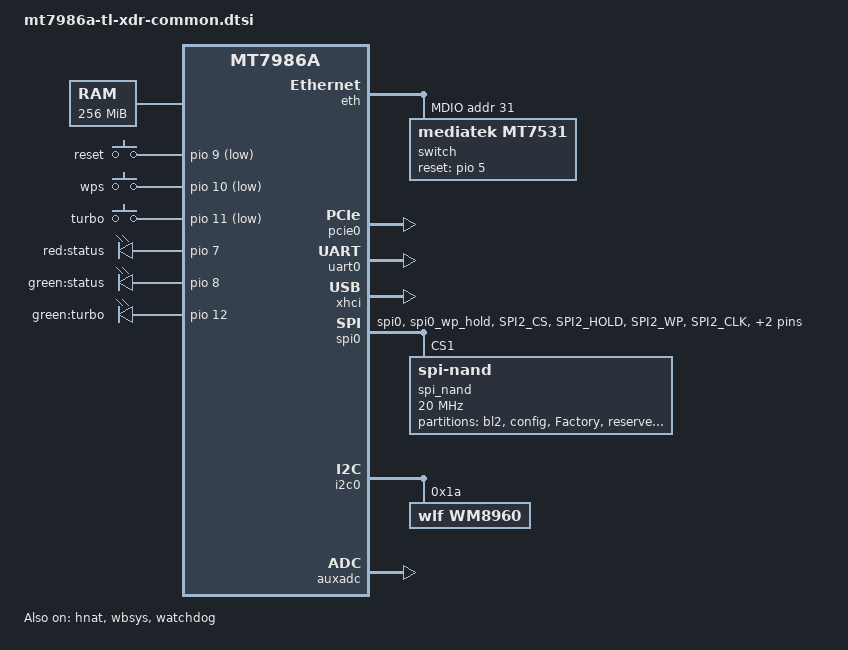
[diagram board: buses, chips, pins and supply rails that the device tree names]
// SPDX-License-Identifier: (GPL-2.0-only OR MIT)
/dts-v1/;

#include <dt-bindings/input/input.h>
#include <dt-bindings/gpio/gpio.h>
#include <dt-bindings/leds/common.h>

#include "mt7986a.dtsi"
#include "mt7986a-pinctrl.dtsi"
/ {
	
 	aliases {
 		serial0 = &uart0;
 		led-boot = &led_status_red;
 		led-failsafe = &led_status_red;
 		led-running = &led_status_green;
 		led-upgrade = &led_status_green;
 	};

	chosen {
		bootargs = "console=ttyS0,115200n1 loglevel=8 
		earlycon=uart8250,mmio32,0x11002000";
	};
	

	memory {
		reg = <0 0x40000000 0 0x10000000>;
	};

  	
       gpio-keys {
		compatible = "gpio-keys";

		reset {
 			label = "reset";
 			linux,code = <KEY_RESTART>;
 			gpios = <&pio 9 GPIO_ACTIVE_LOW>;
 		};

 		wps {
 			label = "wps";
 			linux,code = <KEY_WPS_BUTTON>;
 			gpios = <&pio 10 GPIO_ACTIVE_LOW>;
 		};

 		turbo {
 			label = "turbo";
 			linux,code = <BTN_1>;
 			gpios = <&pio 11 GPIO_ACTIVE_LOW>;
 		};
	};

	
	
	leds {
		compatible = "gpio-leds";

		led_status_red: status_red {
 			label = "red:status";
 			gpios = <&pio 7 GPIO_ACTIVE_HIGH>;
 		};

 		led_status_green: status_green {
 			label = "green:status";
 			gpios = <&pio 8 GPIO_ACTIVE_HIGH>;
 		};

 		turbo {
 			label = "green:turbo";
 			gpios = <&pio 12 GPIO_ACTIVE_HIGH>;
 		};
	};

};

&eth {
	status = "okay";

	gmac0: mac@0 {
		compatible = "mediatek,eth-mac";
		reg = <0>;
		phy-mode = "2500base-x";
		ext-phy-reg = <5>;
		ext-phy-reset-gpios = <&pio 13 0>;
		fixed-link {
			speed = <2500>;
			full-duplex;
			pause;
		};	
	};

	gmac1: mac@1 {
		label = "wan";
		compatible = "mediatek,eth-mac";
		reg = <1>;
		phy-mode = "2500base-x";
		ext-phy-reg = <7>;
		ext-phy-reset-gpios = <&pio 17 0>;
		fixed-link {
			speed = <2500>;
			full-duplex;
			pause;
		};
	};

		mdio: mdio-bus {
		#address-cells = <1>;
		#size-cells = <0>;
 		
		switch:switch@0 {
			compatible = "mediatek,mt7531";
			reg = <31>;
			reset-gpios = <&pio 5 0>;
		};
	};
};


&hnat {
	mtketh-wan = "eth1";
	mtketh-lan = "lan";
	mtketh-max-gmac = <2>;
	status = "okay";
};

&pio {
	spi_flash_pins: spi-flash-pins-33-to-38 {
		mux {
			function = "flash";
			groups = "spi0", "spi0_wp_hold";
		};
		conf-pu {
			pins = "SPI2_CS", "SPI2_HOLD", "SPI2_WP";
			drive-strength = <8>;
			mediatek,pull-up-adv = <0>;
		};
		conf-pd {
			pins = "SPI2_CLK", "SPI2_MOSI", "SPI2_MISO";
			drive-strength = <8>;
			mediatek,pull-down-adv = <0>;
		};
	};

	wf_2g_5g_pins: wf_2g_5g-pins {
		mux {
			function = "wifi";
			groups = "wf_2g", "wf_5g";
		};
		conf {
			pins = "WF0_HB1", "WF0_HB2", "WF0_HB3", "WF0_HB4",
			       "WF0_HB0", "WF0_HB0_B", "WF0_HB5", "WF0_HB6",
			       "WF0_HB7", "WF0_HB8", "WF0_HB9", "WF0_HB10",
			       "WF0_TOP_CLK", "WF0_TOP_DATA", "WF1_HB1",
			       "WF1_HB2", "WF1_HB3", "WF1_HB4", "WF1_HB0",
			       "WF1_HB5", "WF1_HB6", "WF1_HB7", "WF1_HB8",
			       "WF1_TOP_CLK", "WF1_TOP_DATA";
			drive-strength = <MTK_DRIVE_4mA>;
		};
	};

	wf_dbdc_pins: wf_dbdc-pins {
		mux {
			function = "wifi";
			groups = "wf_dbdc";
		};
		conf {
			pins = "WF0_HB1", "WF0_HB2", "WF0_HB3", "WF0_HB4",
			       "WF0_HB0", "WF0_HB0_B", "WF0_HB5", "WF0_HB6",
			       "WF0_HB7", "WF0_HB8", "WF0_HB9", "WF0_HB10",
			       "WF0_TOP_CLK", "WF0_TOP_DATA", "WF1_HB1",
			       "WF1_HB2", "WF1_HB3", "WF1_HB4", "WF1_HB0",
			       "WF1_HB5", "WF1_HB6", "WF1_HB7", "WF1_HB8",
			       "WF1_TOP_CLK", "WF1_TOP_DATA";
			drive-strength = <MTK_DRIVE_4mA>;
		};
	};
};

&pcie0 {
    pinctrl-names = "default";
    pinctrl-0 = <&pcie0_pins>;
    status = "okay";
};

&uart0 {
    status = "okay";
};


&xhci {
	status = "okay";
};

&spi0 {
	pinctrl-names = "default";
	pinctrl-0 = <&spi_flash_pins>;
	status = "okay";
	cs-gpios = <0>, <0>;
	spi_nand: spi_nand@0 {
		#address-cells = <1>;
		#size-cells = <1>;
		compatible = "spi-nand";
		reg = <1>;
		spi-max-frequency = <20000000>;
		spi-tx-buswidth = <4>;
		spi-rx-buswidth = <4>;
		partitions {
 			compatible = "fixed-partitions";
 			#address-cells = <1>;
 			#size-cells = <1>;

 			partition@0 {
 				label = "bl2";
 				reg = <0x000000 0x0100000>;
 				// read-only;
 			};

 			partition@100000 {
 				label = "config";
 				reg = <0x100000 0x0060000>;
 				read-only;
 			};

 			Factory: partition@160000 {
 				label = "Factory";
 				reg = <0x160000 0x00a0000>;
 				read-only;
 			};

 			partition@200000 {
 				label = "reserved";
 				reg = <0x200000 0x0180000>;
 				read-only;
 			};

 			partition@380000 {
				label = "fip";
				reg = <0x380000 0x0200000>;
				read-only;
			};
			partition@580000 {
				label = "ubi";
				reg = <0x580000 0x7800000>;
			};
 		};
	};
};

&wbsys {
	status = "okay";
	mediatek,mtd-eeprom = <&Factory 0x0000>;
/*
	pinctrl-names = "default", "dbdc";
	pinctrl-0 = <&wf_2g_5g_pins>;
	pinctrl-1 = <&wf_dbdc_pins>;
*/
};

&watchdog {
	status = "okay";
};

&i2c0 {
	pinctrl-names = "default";
	pinctrl-0 = <&i2c_pins>;
	status = "okay";

	wm8960: wm8960@1a {
		compatible = "wlf,wm8960";
		reg = <0x1a>;
	};
};

&auxadc {
	status = "okay";
};
